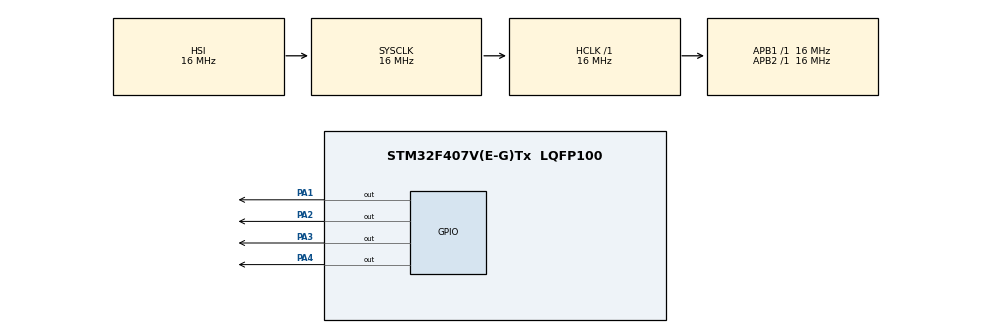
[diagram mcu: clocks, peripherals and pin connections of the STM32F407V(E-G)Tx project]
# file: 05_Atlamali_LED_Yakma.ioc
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Mcu.Family=STM32F4
Mcu.Name=STM32F407V(E-G)Tx
Mcu.Package=LQFP100
NVIC.PriorityGroup=NVIC_PRIORITYGROUP_4
PA1.Signal=GPIO_Output
PA2.Signal=GPIO_Output
PA3.Signal=GPIO_Output
PA4.Signal=GPIO_Output
ProjectManager.HeapSize=0x200
ProjectManager.StackSize=0x400
ProjectManager.TargetToolchain=STM32CubeIDE
RCC.AHBFreq_Value=16000000
RCC.APB1Freq_Value=16000000
RCC.APB2Freq_Value=16000000
RCC.CortexFreq_Value=16000000
RCC.HSE_VALUE=25000000
RCC.HSI_VALUE=16000000
RCC.LSE_VALUE=32768
RCC.SYSCLKFreq_VALUE=16000000
RCC.VCOOutputFreq_Value=192000000
board=custom

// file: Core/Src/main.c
/* USER CODE BEGIN Header */
/**
  ******************************************************************************
  * @file           : main.c
  * @brief          : Main program body
  ******************************************************************************
  * @attention
  *
  * Copyright (c) 2025 STMicroelectronics.
  * All rights reserved.
  *
  * This software is licensed under terms that can be found in the LICENSE file
  * in the root directory of this software component.
  * If no LICENSE file comes with this software, it is provided AS-IS.
  *
  ******************************************************************************
  */
/* USER CODE END Header */
#include "main.h"

void SystemClock_Config(void);
static void MX_GPIO_Init(void);

int main(void)
{

  /* MCU Configuration--------------------------------------------------------*/

  /* Reset of all peripherals, Initializes the Flash interface and the Systick. */
  HAL_Init();

  /* Configure the system clock */
  SystemClock_Config();

  /* Initialize all configured peripherals */
  MX_GPIO_Init();

  /* Infinite loop */
  while (1)
  {

    /* USER CODE BEGIN 3 */

	    HAL_GPIO_WritePin(GPIOA, GPIO_PIN_2, GPIO_PIN_SET);
	    HAL_Delay(1000);
	    HAL_GPIO_WritePin(GPIOA, GPIO_PIN_2, GPIO_PIN_RESET);		// Led2 yandı 1 sn yandıktan sonra söndü.

	    HAL_GPIO_WritePin(GPIOA, GPIO_PIN_4, GPIO_PIN_SET);
	    HAL_Delay(1000);
	    HAL_GPIO_WritePin(GPIOA, GPIO_PIN_4, GPIO_PIN_RESET);		// Led4 yandı 1 sn yandıktan sonra söndü.

	    HAL_GPIO_WritePin(GPIOA, GPIO_PIN_1, GPIO_PIN_SET);
	    HAL_Delay(1000);
	    HAL_GPIO_WritePin(GPIOA, GPIO_PIN_1, GPIO_PIN_RESET);		// Led1 yandı 1 sn yandıktan sonra söndü.

	    HAL_GPIO_WritePin(GPIOA, GPIO_PIN_3, GPIO_PIN_SET);
	    HAL_Delay(1000);
	    HAL_GPIO_WritePin(GPIOA, GPIO_PIN_3, GPIO_PIN_RESET);		// Led3 yandı 1 sn yandıktan sonra söndü.

	    HAL_GPIO_WritePin(GPIOA, GPIO_PIN_2, GPIO_PIN_SET);
	    HAL_GPIO_WritePin(GPIOA, GPIO_PIN_4, GPIO_PIN_SET);
	    HAL_Delay(2000);											// Led2 ve led4 aynı anda yandı 2 sn yandıktan sonra söndü.
	    HAL_GPIO_WritePin(GPIOA, GPIO_PIN_2, GPIO_PIN_RESET);
	    HAL_GPIO_WritePin(GPIOA, GPIO_PIN_4, GPIO_PIN_RESET);

	    HAL_GPIO_WritePin(GPIOA, GPIO_PIN_1, GPIO_PIN_SET);
	    HAL_GPIO_WritePin(GPIOA, GPIO_PIN_3, GPIO_PIN_SET);
	    HAL_Delay(2000);											// Led1 ve led3 aynı anda yandı 2 sn yandıktan sonra söndü.
	    HAL_GPIO_WritePin(GPIOA, GPIO_PIN_1, GPIO_PIN_RESET);
	    HAL_GPIO_WritePin(GPIOA, GPIO_PIN_3, GPIO_PIN_RESET);

	    HAL_GPIO_WritePin(GPIOA, GPIO_PIN_1, GPIO_PIN_SET);			// Ledlerin hepsi aynı anda 4 sn yandı .
	    HAL_GPIO_WritePin(GPIOA, GPIO_PIN_2, GPIO_PIN_SET);
	    HAL_GPIO_WritePin(GPIOA, GPIO_PIN_3, GPIO_PIN_SET);
	    HAL_GPIO_WritePin(GPIOA, GPIO_PIN_4, GPIO_PIN_SET);
	    HAL_Delay(4000);

	    HAL_GPIO_WritePin(GPIOA, GPIO_PIN_1, GPIO_PIN_RESET);       // Ledlerin hepsi aynı anda 4 sn söndü.
	    HAL_GPIO_WritePin(GPIOA, GPIO_PIN_2, GPIO_PIN_RESET);
	    HAL_GPIO_WritePin(GPIOA, GPIO_PIN_3, GPIO_PIN_RESET);
	    HAL_GPIO_WritePin(GPIOA, GPIO_PIN_4, GPIO_PIN_RESET);
	    HAL_Delay(4000);
  }
  /* USER CODE END 3 */
}

void SystemClock_Config(void)
{
  RCC_OscInitTypeDef RCC_OscInitStruct = {0};
  RCC_ClkInitTypeDef RCC_ClkInitStruct = {0};

  /** Configure the main internal regulator output voltage
  */
  __HAL_RCC_PWR_CLK_ENABLE();
  __HAL_PWR_VOLTAGESCALING_CONFIG(PWR_REGULATOR_VOLTAGE_SCALE1);

  /** Initializes the RCC Oscillators according to the specified parameters
  * in the RCC_OscInitTypeDef structure.
  */
  RCC_OscInitStruct.OscillatorType = RCC_OSCILLATORTYPE_HSI;
  RCC_OscInitStruct.HSIState = RCC_HSI_ON;
  RCC_OscInitStruct.HSICalibrationValue = RCC_HSICALIBRATION_DEFAULT;
  RCC_OscInitStruct.PLL.PLLState = RCC_PLL_NONE;
  if (HAL_RCC_OscConfig(&RCC_OscInitStruct) != HAL_OK)
  {
    Error_Handler();
  }

  /** Initializes the CPU, AHB and APB buses clocks
  */
  RCC_ClkInitStruct.ClockType = RCC_CLOCKTYPE_HCLK|RCC_CLOCKTYPE_SYSCLK
                              |RCC_CLOCKTYPE_PCLK1|RCC_CLOCKTYPE_PCLK2;
  RCC_ClkInitStruct.SYSCLKSource = RCC_SYSCLKSOURCE_HSI;
  RCC_ClkInitStruct.AHBCLKDivider = RCC_SYSCLK_DIV1;
  RCC_ClkInitStruct.APB1CLKDivider = RCC_HCLK_DIV1;
  RCC_ClkInitStruct.APB2CLKDivider = RCC_HCLK_DIV1;

  if (HAL_RCC_ClockConfig(&RCC_ClkInitStruct, FLASH_LATENCY_0) != HAL_OK)
  {
    Error_Handler();
  }
}

static void MX_GPIO_Init(void)
{
  GPIO_InitTypeDef GPIO_InitStruct = {0};

  /* GPIO Ports Clock Enable */
  __HAL_RCC_GPIOA_CLK_ENABLE();

  /*Configure GPIO pin Output Level */
  HAL_GPIO_WritePin(GPIOA, GPIO_PIN_1|GPIO_PIN_2|GPIO_PIN_3|GPIO_PIN_4, GPIO_PIN_RESET);

  /*Configure GPIO pins : PA1 PA2 PA3 PA4 */
  GPIO_InitStruct.Pin = GPIO_PIN_1|GPIO_PIN_2|GPIO_PIN_3|GPIO_PIN_4;
  GPIO_InitStruct.Mode = GPIO_MODE_OUTPUT_PP;
  GPIO_InitStruct.Pull = GPIO_NOPULL;
  GPIO_InitStruct.Speed = GPIO_SPEED_FREQ_LOW;
  HAL_GPIO_Init(GPIOA, &GPIO_InitStruct);

}

void Error_Handler(void)
{
  __disable_irq();
  while (1)
  {
  }
}
